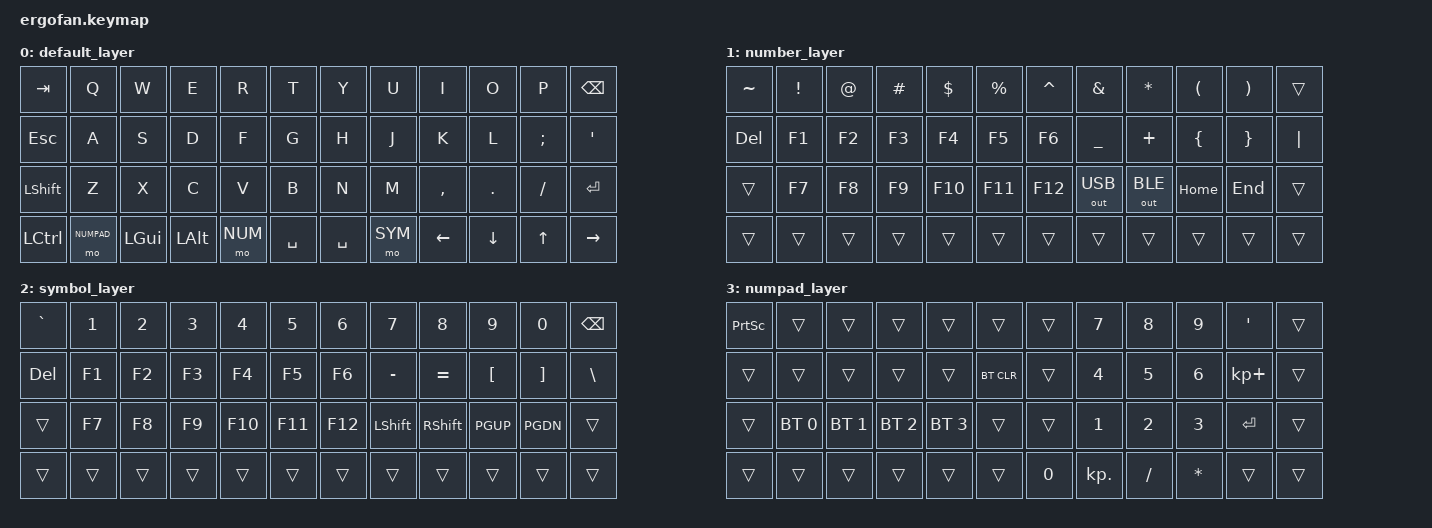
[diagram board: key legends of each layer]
#include <behaviors.dtsi>
#include <dt-bindings/zmk/keys.h>
#include <dt-bindings/zmk/bt.h>
#include <dt-bindings/zmk/outputs.h>

#define DEFAULT 0
#define NUM     1
#define SYM     2
#define NUMPAD  3

/ {  
    keymap {
        compatible = "zmk,keymap";

        default_layer {
            bindings = <
                &kp TAB    &kp Q    &kp W    &kp E    &kp R    &kp T    &kp Y    &kp U    &kp I    &kp O    &kp P    &kp BSPC    
                &kp ESC    &kp A    &kp S    &kp D    &kp F    &kp G    &kp H    &kp J    &kp K    &kp L    &kp SEMICOLON    &kp SINGLE_QUOTE
                &kp LSHIFT    &kp Z    &kp X    &kp C    &kp V    &kp B    &kp N    &kp M    &kp COMMA    &kp DOT    &kp SLASH    &kp ENTER
                &kp LCTRL    &mo NUMPAD    &kp LGUI    &kp LALT    &mo NUM    &kp SPC    &kp SPC    &mo SYM    &kp LEFT    &kp DOWN    &kp UP    &kp RIGHT 
            >;
        }; 

        number_layer {
            bindings = <
                &kp TILDE    &kp EXCL    &kp AT    &kp HASH    &kp DLLR    &kp PRCNT    &kp CARET    &kp AMPS    &kp STAR    &kp LPAR    &kp RPAR    &trans    
                &kp DEL    &kp F1    &kp F2    &kp F3    &kp F4    &kp F5    &kp F6    &kp UNDERSCORE    &kp PLUS    &kp LBRC    &kp RBRC    &kp PIPE    
                &trans    &kp F7    &kp F8    &kp F9    &kp F10    &kp F11    &kp F12    &out OUT_USB     &out OUT_BLE      &kp HOME    &kp END    &trans    
                &trans    &trans    &trans    &trans    &trans    &trans    &trans    &trans    &trans    &trans    &trans    &trans
            >;
        }; 
        

        symbol_layer {
            bindings = <
                &kp GRAVE    &kp N1    &kp N2    &kp N3    &kp N4    &kp N5    &kp N6    &kp N7    &kp N8    &kp N9    &kp N0    &kp BSPC    
                &kp DEL    &kp F1    &kp F2    &kp F3    &kp F4    &kp F5    &kp F6    &kp MINUS    &kp EQUAL    &kp LBKT    &kp RBKT    &kp BSLH    
                &trans    &kp F7    &kp F8    &kp F9    &kp F10    &kp F11    &kp F12    &kp LSHFT    &kp RSHFT    &kp PGUP    &kp PGDN    &trans    
                &trans    &trans    &trans    &trans    &trans    &trans    &trans    &trans    &trans    &trans    &trans    &trans
            >;
        }; 
        
        numpad_layer {
            bindings = <
                &kp PSCRN    &trans    &trans    &trans    &trans    &trans    &trans    &kp N7    &kp N8    &kp N9    &kp QUOT    &trans    
                &trans    &trans    &trans    &trans    &trans    &bt BT_CLR    &trans    &kp N4    &kp N5    &kp N6    &kp KP_PLUS    &trans    
                &trans    &bt BT_SEL 0   &bt BT_SEL 1    &bt BT_SEL 2    &bt BT_SEL 3    &trans    &trans    &kp N1    &kp N2    &kp N3    &kp ENTER    &trans
                &trans    &trans    &trans    &trans    &trans    &trans    &kp N0    &kp KP_DOT    &kp SLASH     &kp STAR    &trans    &trans
            >;
        }; 
    }; 
};
